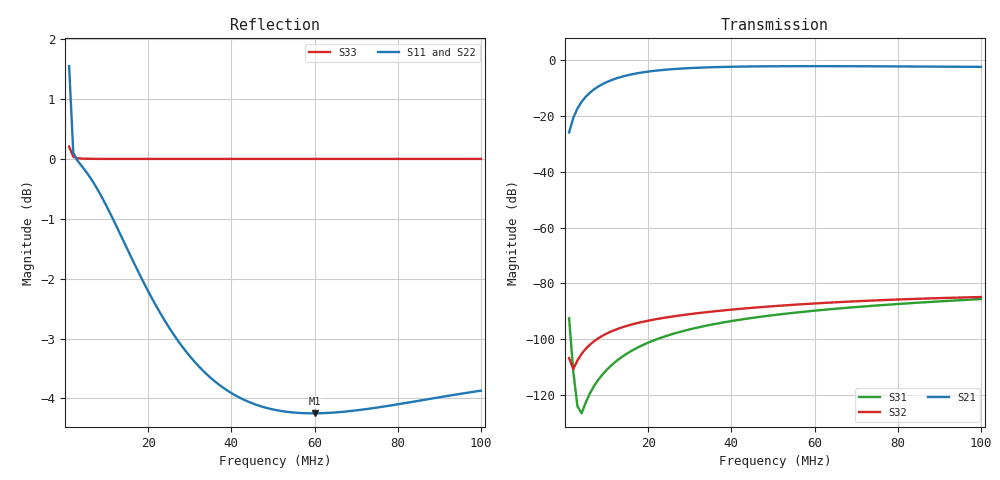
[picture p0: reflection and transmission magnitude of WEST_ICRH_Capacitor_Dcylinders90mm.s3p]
! Touchstone file exported from HFSS 2018.2.0
!  File:  E:/Julien/ICRH/WEST Antenna/Complete Numerical Antenna Model/WEST_ICRH_Capacitor.aedt
!  Generated:  5:40:40  janv. 09, 2019
!  Design:  WEST_ICRH_Voltage_Probes_depth_m5mm_optimetrics_silver_Part2
!  Project:  WEST_ICRH_Capacitor
!  Setup:  Setup1
!  Solution:  Sweep
! Variables:
!  D_cylinders = 90mm
!  D_cylinders_step = 110.908mm
!  d_half_wave = 3mm
!  d_mesh = 7mm
!  deemb1 = 150mm
!  deemb2 = 150mm
!  deemb3 = 100mm
!  depth = -5mm
!  diameter_bellows_fixed_center_1 = 76mm
!  diameter_bellows_fixed_center_2 = 72mm
!  diameter_bellows_fixed_left_1 = 76mm
!  diameter_bellows_fixed_left_2 = 71mm
!  diameter_big_wave = 74.925mm
!  diameter_cylinder_1 = 140mm
!  diameter_cylinder_2 = 110mm
!  diameter_cylinder_3 = 80mm
!  diameter_cylinder_4 = 50mm
!  diameter_cylinder_5 = 19.985mm
!  diameter_cylinders_fixed = 143mm
!  diameter_small_wave = 51mm
!  diametre_coax_external = 216mm
!  diametre_probe_cavity = 13mm
!  diametre_probe_external = 7mm
!  diametre_probe_head = 7mm
!  diametre_probe_internal = 3mm
!  length_bellows_fixed_center_1 = 4.1mm
!  length_bellows_fixed_center_2 = 6.042mm
!  length_bellows_fixed_left_1 = 4.1mm
!  length_bellows_fixed_left_2 = 13mm
!  length_cylinders = 45.5mm
!  length_cylinders_fixed = 7mm
!  length_probe = 114mm
!  length_probe_cavity = 23mm
!  length_probe_head = 9.5mm
!  parois_cavity_probe = 1mm
!  parois_probe = 1mm
!  thickness_cylinder_1 = 1.5mm
!  thickness_cylinder_2 = 1.5mm
!  thickness_cylinder_3 = 1.5mm
!  thickness_cylinder_4 = 1.5mm
!  top_probe = 14mm
!  y0_bellows1 = 223.3mm
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# GHZ S DB R 50.000000
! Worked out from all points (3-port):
!   100 points, 1 MHz to 100 MHz, reference 50 ohm
!   strongest paths, dB at 1 MHz, 26 MHz, 51 MHz, 76 MHz, 100 MHz:
!     S21: -25.8, -3.1, -2.1, -2.1, -2.3
!     S32: -106.9, -91.9, -88.1, -86.1, -84.9
!     S31: -92.6, -98.2, -91.3, -87.9, -85.7
!   lowest |S11| = -4.2 dB at 60 MHz (marker M1), VSWR 4.17, Z = 18.4 - j34.8 ohm
!   |S11| at or under -10 dB: nowhere
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0.001  1.55 -4.3  -25.83 85.1  -92.58 156.3
       -25.83 85.1  0.01 -3.6  -106.87 163.1
       -92.58 156.3  -106.87 163.1  0.20 1.7
0.002  0.10 -7.1  -20.62 82.8  -111.67 60.9
       -20.62 82.8  -0.03 -7.1  -110.75 96.6
       -111.67 60.9  -110.75 96.6  0.04 0.5
0.005  -0.21 -17.6  -13.02 72.4  -122.79 153.2
       -13.02 72.4  -0.22 -17.5  -103.52 81.7
       -122.79 153.2  -103.52 81.7  0.00 -0.2
0.008  -0.53 -27.3  -9.37 62.7  -114.68 151.9
       -9.37 62.7  -0.53 -27.2  -99.76 76.6
       -114.68 151.9  -99.76 76.6  0.00 -0.4
0.013  -1.21 -41.7  -6.13 48.4  -107.20 138.1
       -6.13 48.4  -1.21 -41.5  -96.20 70.4
       -107.20 138.1  -96.20 70.4  0.00 -0.7
0.021  -2.34 -59.6  -3.81 30.5  -100.71 120.2
       -3.81 30.5  -2.34 -59.3  -93.14 64.1
       -100.71 120.2  -93.14 64.1  -0.00 -1.1
0.029  -3.21 -73.0  -2.83 17.3  -96.92 106.9
       -2.83 17.3  -3.21 -72.5  -91.27 60.5
       -96.92 106.9  -91.27 60.5  -0.00 -1.6
0.051  -4.20 -97.7  -2.08 -7.0  -91.28 82.5
       -2.08 -7.0  -4.20 -96.3  -88.12 54.9
       -91.28 82.5  -88.12 54.9  -0.00 -2.7
0.06  -4.25 -105.2  -2.05 -14.3  -89.84 75.0
      -2.05 -14.3  -4.25 -103.5  -87.25 53.0
      -89.84 75.0  -87.25 53.0  -0.00 -3.2
0.1  -3.87 -131.5  -2.30 -39.3  -85.67 49.6
     -2.30 -39.3  -3.87 -127.2  -84.94 46.0
     -85.67 49.6  -84.94 46.0  0.00 -5.4
